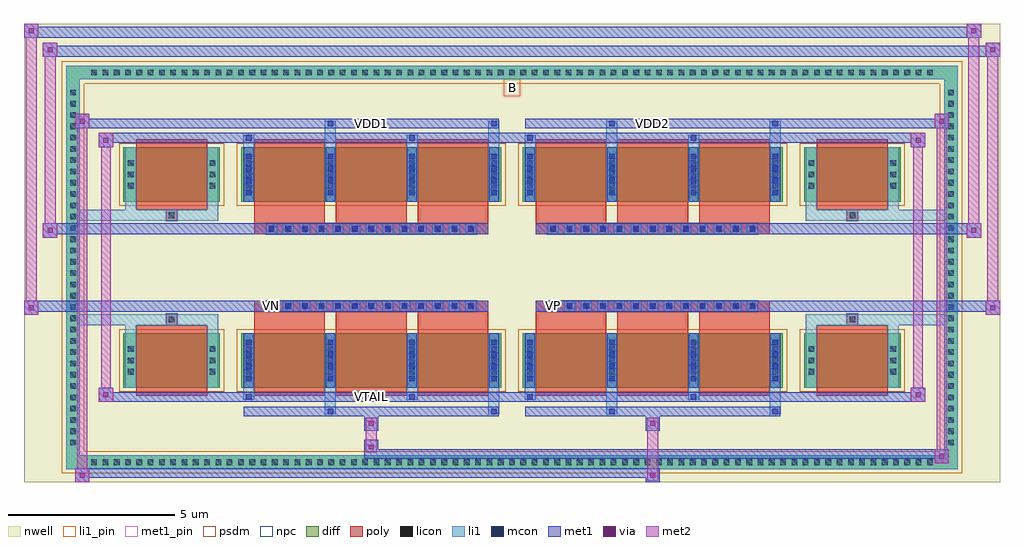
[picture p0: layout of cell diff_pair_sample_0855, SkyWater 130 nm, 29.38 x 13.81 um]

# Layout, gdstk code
import gdstk
lib = gdstk.Library(unit=1e-6, precision=5e-09)
def R(c, l, rs):  # rectangles x0, y0, x1, y1
    for r in rs: c.add(gdstk.rectangle(r[:2], r[2:], *l))
def A(c, l, x, y, w, h, nx, ny, dx, dy):  # array of equal rectangles
    R(c, l, [(x+i*dx, y+j*dy, x+i*dx+w, y+j*dy+h) for i in range(nx) for j in range(ny)])
def P(c, l, *ps):  # polygons
    for p in ps: c.add(gdstk.Polygon(p, *l))
nwell = (64, 20)
diff = (65, 20)
poly = (66, 20)
licon = (66, 44)
li1_pin = (67, 16)
li1 = (67, 20)
mcon = (67, 44)
met1_pin = (68, 16)
met1 = (68, 20)
via = (68, 44)
met2 = (69, 20)
psdm = (94, 20)
npc = (95, 20)

diff_pair_sample_0855 = lib.new_cell('diff_pair_sample_0855')
R(diff_pair_sample_0855, nwell, [(-14.69,-6.47,14.69,7.34), (-12.01,-4.66,-0.01,-0.8), (0.01,-4.66,12.01,-0.8), (-12.01,0.8,-0.01,4.66), (0.01,0.8,12.01,4.66)])
A(diff_pair_sample_0855, diff, -12.785, -6.07, 0.41, 0.41, 75, 2, 0.34, 11.73)
A(diff_pair_sample_0855, diff, -13.42, -5.475, 0.41, 0.41, 1, 32, 0, 0.34)
A(diff_pair_sample_0855, diff, 13.01, -5.475, 0.41, 0.41, 1, 32, 0, 0.34)
R(diff_pair_sample_0855, diff, [(-12.785,-6.07,12.785,-5.66), (-13.42,-5.475,-13.01,5.475), (13.01,-5.475,13.42,5.475), (-11.7,-3.615,-8.79,-1.985), (-8.15,-3.615,-0.32,-1.985), (0.32,-3.615,8.15,-1.985), (8.79,-3.615,11.7,-1.985), (-11.7,1.985,-8.79,3.615), (-8.15,1.985,-0.32,3.615), (0.32,1.985,8.15,3.615), (8.79,1.985,11.7,3.615), (-12.785,5.66,12.785,6.07)])
P(diff_pair_sample_0855, diff, [(13.42,6.07),(-13.42,6.07),(-13.42,-5.66),(-13.01,-5.66),(-13.01,5.66),(13.01,5.66),(13.01,-5.66),(-13.01,-5.66),(-13.42,-5.66),(-13.42,-6.07),(13.42,-6.07)])
A(diff_pair_sample_0855, poly, -7.76, -3.865, 2.13, 2.13, 3, 2, 2.46, 5.6)
A(diff_pair_sample_0855, poly, 0.71, -3.865, 2.13, 2.13, 3, 2, 2.46, 5.6)
A(diff_pair_sample_0855, poly, -7.76, -1.735, 2.13, 0.405, 3, 2, 2.46, 3.065)
A(diff_pair_sample_0855, poly, 0.71, -1.735, 2.13, 0.405, 3, 2, 2.46, 3.065)
A(diff_pair_sample_0855, poly, -7.4, -1.33, 0.33, 0.33, 13, 2, 0.5, 2.33)
A(diff_pair_sample_0855, poly, 1.07, -1.33, 0.33, 0.33, 13, 2, 0.5, 2.33)
R(diff_pair_sample_0855, poly, [(-11.31,-3.865,-9.18,-1.735), (9.18,-3.865,11.31,-1.735), (-10.41,-1.735,-10.08,-1.405), (-10.41,-1.735,-10.08,-1.405), (10.08,-1.735,10.41,-1.405), (10.08,-1.735,10.41,-1.405), (-7.76,-1.33,-0.71,-1), (0.71,-1.33,7.76,-1), (-7.76,1,-0.71,1.33), (0.71,1,7.76,1.33), (-10.41,1.405,-10.08,1.735), (-10.41,1.405,-10.08,1.735), (10.08,1.405,10.41,1.735), (10.08,1.405,10.41,1.735), (-11.31,1.735,-9.18,3.865), (9.18,1.735,11.31,3.865)])
A(diff_pair_sample_0855, licon, -12.665, -5.95, 0.17, 0.17, 75, 2, 0.34, 11.73)
A(diff_pair_sample_0855, licon, -13.3, -5.355, 0.17, 0.17, 1, 32, 0, 0.34)
A(diff_pair_sample_0855, licon, 13.13, -5.355, 0.17, 0.17, 1, 32, 0, 0.34)
A(diff_pair_sample_0855, licon, -11.56, -3.225, 0.17, 0.17, 1, 3, 0, 0.34)
A(diff_pair_sample_0855, licon, -9.1, -3.225, 0.17, 0.17, 1, 3, 0, 0.34)
A(diff_pair_sample_0855, licon, -8.01, -3.225, 0.17, 0.17, 4, 3, 2.46, 0.34)
A(diff_pair_sample_0855, licon, 0.46, -3.225, 0.17, 0.17, 4, 3, 2.46, 0.34)
A(diff_pair_sample_0855, licon, 8.93, -3.225, 0.17, 0.17, 1, 3, 0, 0.34)
A(diff_pair_sample_0855, licon, 11.39, -3.225, 0.17, 0.17, 1, 3, 0, 0.34)
A(diff_pair_sample_0855, licon, -7.32, -1.25, 0.17, 0.17, 13, 2, 0.5, 2.33)
A(diff_pair_sample_0855, licon, 1.15, -1.25, 0.17, 0.17, 13, 2, 0.5, 2.33)
A(diff_pair_sample_0855, licon, -11.56, 2.375, 0.17, 0.17, 1, 3, 0, 0.34)
A(diff_pair_sample_0855, licon, -9.1, 2.375, 0.17, 0.17, 1, 3, 0, 0.34)
A(diff_pair_sample_0855, licon, -8.01, 2.375, 0.17, 0.17, 4, 3, 2.46, 0.34)
A(diff_pair_sample_0855, licon, 0.46, 2.375, 0.17, 0.17, 4, 3, 2.46, 0.34)
A(diff_pair_sample_0855, licon, 8.93, 2.375, 0.17, 0.17, 1, 3, 0, 0.34)
A(diff_pair_sample_0855, licon, 11.39, 2.375, 0.17, 0.17, 1, 3, 0, 0.34)
R(diff_pair_sample_0855, licon, [(-10.33,-1.655,-10.16,-1.485), (10.16,-1.655,10.33,-1.485), (-10.33,1.485,-10.16,1.655), (10.16,1.485,10.33,1.655)])
R(diff_pair_sample_0855, li1_pin, [(-0.25,5.16,0.25,5.66)])
A(diff_pair_sample_0855, li1, -12.745, -6.03, 0.33, 0.33, 75, 2, 0.34, 11.73)
A(diff_pair_sample_0855, li1, -13.38, -5.435, 0.33, 0.33, 1, 32, 0, 0.34)
A(diff_pair_sample_0855, li1, 13.05, -5.435, 0.33, 0.33, 1, 32, 0, 0.34)
A(diff_pair_sample_0855, li1, -8.09, -3.615, 0.33, 1.63, 4, 2, 2.46, 5.6)
A(diff_pair_sample_0855, li1, 0.38, -3.615, 0.33, 1.63, 4, 2, 2.46, 5.6)
A(diff_pair_sample_0855, li1, -8.01, -3.425, 0.17, 0.17, 4, 4, 2.46, 0.36)
A(diff_pair_sample_0855, li1, -8.01, -3.425, 0.17, 1.25, 4, 2, 2.46, 5.6)
A(diff_pair_sample_0855, li1, 0.46, -3.425, 0.17, 0.17, 4, 4, 2.46, 0.36)
A(diff_pair_sample_0855, li1, 0.46, -3.425, 0.17, 1.25, 4, 2, 2.46, 5.6)
A(diff_pair_sample_0855, li1, -11.64, -3.305, 0.33, 0.33, 1, 3, 0, 0.34)
A(diff_pair_sample_0855, li1, -9.18, -3.305, 0.33, 0.33, 1, 3, 0, 0.34)
A(diff_pair_sample_0855, li1, -8.09, -3.305, 0.33, 0.33, 4, 3, 2.46, 0.34)
A(diff_pair_sample_0855, li1, 0.38, -3.305, 0.33, 0.33, 4, 3, 2.46, 0.34)
A(diff_pair_sample_0855, li1, 8.85, -3.305, 0.33, 0.33, 1, 3, 0, 0.34)
A(diff_pair_sample_0855, li1, 11.31, -3.305, 0.33, 0.33, 1, 3, 0, 0.34)
A(diff_pair_sample_0855, li1, -7.4, -1.33, 0.33, 0.33, 13, 2, 0.5, 2.33)
A(diff_pair_sample_0855, li1, 1.07, -1.33, 0.33, 0.33, 13, 2, 0.5, 2.33)
A(diff_pair_sample_0855, li1, -8.01, 2.175, 0.17, 0.17, 4, 4, 2.46, 0.36)
A(diff_pair_sample_0855, li1, 0.46, 2.175, 0.17, 0.17, 4, 4, 2.46, 0.36)
A(diff_pair_sample_0855, li1, -11.64, 2.295, 0.33, 0.33, 1, 3, 0, 0.34)
A(diff_pair_sample_0855, li1, -9.18, 2.295, 0.33, 0.33, 1, 3, 0, 0.34)
A(diff_pair_sample_0855, li1, -8.09, 2.295, 0.33, 0.33, 4, 3, 2.46, 0.34)
A(diff_pair_sample_0855, li1, 0.38, 2.295, 0.33, 0.33, 4, 3, 2.46, 0.34)
A(diff_pair_sample_0855, li1, 8.85, 2.295, 0.33, 0.33, 1, 3, 0, 0.34)
A(diff_pair_sample_0855, li1, 11.31, 2.295, 0.33, 0.33, 1, 3, 0, 0.34)
R(diff_pair_sample_0855, li1, [(-13.42,-6.07,-13.01,-5.66), (-13.42,-6.07,-13.01,-5.66), (-13.01,-6.07,13.01,-5.66), (13.01,-6.07,13.42,-5.66), (13.01,-6.07,13.42,-5.66), (-13.42,-5.66,-13.01,5.66), (13.01,-5.66,13.42,5.66), (-5.63,-4.42,-5.3,-3.615), (-5.55,-4.42,-5.38,-4.25), (-0.71,-4.42,-0.38,-3.615), (-0.63,-4.42,-0.46,-4.25), (2.84,-4.42,3.17,-3.615), (2.92,-4.42,3.09,-4.25), (7.76,-4.42,8.09,-3.615), (7.84,-4.42,8.01,-4.25), (-8.09,-3.99,-7.76,-3.615), (-8.01,-3.99,-7.84,-3.82), (-3.17,-3.99,-2.84,-3.615), (-3.09,-3.99,-2.92,-3.82), (0.38,-3.99,0.71,-3.615), (0.46,-3.99,0.63,-3.82), (5.3,-3.99,5.63,-3.615), (5.38,-3.99,5.55,-3.82), (-11.64,-3.615,-11.31,-1.985), (-9.18,-3.615,-8.85,-1.985), (8.85,-3.615,9.18,-1.985), (11.31,-3.615,11.64,-1.985), (-11.64,-1.985,-11.31,-1.405), (-9.18,-1.985,-8.85,-1.405), (8.85,-1.985,9.18,-1.405), (11.31,-1.985,11.64,-1.405), (-13.42,-1.735,-10.41,-1.405), (-11.64,-1.735,-10.41,-1.405), (-10.41,-1.735,-10.08,-1.405), (-10.08,-1.735,-8.85,-1.405), (8.85,-1.735,10.08,-1.405), (10.08,-1.735,10.41,-1.405), (10.08,-1.735,13.42,-1.405), (10.41,-1.735,11.64,-1.405), (-13.42,1.405,-10.41,1.735), (-11.64,1.405,-10.41,1.735), (-11.64,1.405,-11.31,1.985), (-10.41,1.405,-10.08,1.735), (-10.08,1.405,-8.85,1.735), (-9.18,1.405,-8.85,1.985), (8.85,1.405,10.08,1.735), (8.85,1.405,9.18,1.985), (10.08,1.405,10.41,1.735), (10.08,1.405,13.42,1.735), (10.41,1.405,11.64,1.735), (11.31,1.405,11.64,1.985), (-11.64,1.985,-11.31,3.615), (-9.18,1.985,-8.85,3.615), (8.85,1.985,9.18,3.615), (11.31,1.985,11.64,3.615), (-8.09,3.615,-7.76,3.99), (-5.63,3.615,-5.3,4.42), (-3.17,3.615,-2.84,3.99), (-0.71,3.615,-0.38,4.42), (0.38,3.615,0.71,3.99), (2.84,3.615,3.17,4.42), (5.3,3.615,5.63,3.99), (7.76,3.615,8.09,4.42), (-8.01,3.82,-7.84,3.99), (-3.09,3.82,-2.92,3.99), (0.46,3.82,0.63,3.99), (5.38,3.82,5.55,3.99), (-5.55,4.25,-5.38,4.42), (-0.63,4.25,-0.46,4.42), (2.92,4.25,3.09,4.42), (7.84,4.25,8.01,4.42), (-13.42,5.66,-13.01,6.07), (-13.42,5.66,-13.01,6.07), (-13.01,5.66,13.01,6.07), (13.01,5.66,13.42,6.07), (13.01,5.66,13.42,6.07)])
A(diff_pair_sample_0855, mcon, -8.01, -3.425, 0.17, 0.17, 4, 4, 2.46, 0.36)
A(diff_pair_sample_0855, mcon, 0.46, -3.425, 0.17, 0.17, 4, 4, 2.46, 0.36)
A(diff_pair_sample_0855, mcon, -7.32, -1.25, 0.17, 0.17, 13, 2, 0.5, 2.33)
A(diff_pair_sample_0855, mcon, 1.15, -1.25, 0.17, 0.17, 13, 2, 0.5, 2.33)
A(diff_pair_sample_0855, mcon, -8.01, 2.175, 0.17, 0.17, 4, 4, 2.46, 0.36)
A(diff_pair_sample_0855, mcon, 0.46, 2.175, 0.17, 0.17, 4, 4, 2.46, 0.36)
R(diff_pair_sample_0855, mcon, [(-5.55,-4.42,-5.38,-4.25), (-0.63,-4.42,-0.46,-4.25), (2.92,-4.42,3.09,-4.25), (7.84,-4.42,8.01,-4.25), (-8.01,-3.99,-7.84,-3.82), (-3.09,-3.99,-2.92,-3.82), (0.46,-3.99,0.63,-3.82), (5.38,-3.99,5.55,-3.82), (-8.01,3.82,-7.84,3.99), (-3.09,3.82,-2.92,3.99), (0.46,3.82,0.63,3.99), (5.38,3.82,5.55,3.99), (-5.55,4.25,-5.38,4.42), (-0.63,4.25,-0.46,4.42), (2.92,4.25,3.09,4.42), (7.84,4.25,8.01,4.42)])
R(diff_pair_sample_0855, met1_pin, [(-4.37,-4.03,-4.1,-3.76), (-7.37,-1.29,-7.1,-1.02), (1.1,-1.29,1.37,-1.02), (-4.37,4.21,-4.1,4.48), (4.1,4.21,4.37,4.48)])
A(diff_pair_sample_0855, met1, -8.07, -3.615, 0.29, 1.63, 4, 2, 2.46, 5.6)
A(diff_pair_sample_0855, met1, 0.4, -3.615, 0.29, 1.63, 4, 2, 2.46, 5.6)
A(diff_pair_sample_0855, met1, -8.07, -3.485, 0.29, 0.29, 4, 4, 2.46, 0.36)
A(diff_pair_sample_0855, met1, 0.4, -3.485, 0.29, 0.29, 4, 4, 2.46, 0.36)
A(diff_pair_sample_0855, met1, -7.38, -1.31, 0.29, 0.29, 13, 2, 0.5, 2.33)
A(diff_pair_sample_0855, met1, 1.09, -1.31, 0.29, 0.29, 13, 2, 0.5, 2.33)
A(diff_pair_sample_0855, met1, -8.07, 2.115, 0.29, 0.29, 4, 4, 2.46, 0.36)
A(diff_pair_sample_0855, met1, 0.4, 2.115, 0.29, 0.29, 4, 4, 2.46, 0.36)
R(diff_pair_sample_0855, met1, [(-13.15,-6.47,-12.72,-6.04), (4.02,-6.47,4.45,-6.04), (-13.15,-6.33,4.45,-6.04), (12.72,-5.9,13.15,-5.47), (-4.45,-5.76,13.15,-5.47), (-4.45,-5.62,-4.02,-5.19), (-4.45,-4.91,-4.02,-4.48), (4.02,-4.91,4.45,-4.48), (-8.07,-4.48,-0.4,-4.19), (-5.61,-4.48,-5.32,-4.19), (-0.69,-4.48,-0.4,-4.19), (0.4,-4.48,8.07,-4.19), (2.86,-4.48,3.15,-4.19), (7.78,-4.48,8.07,-4.19), (-12.44,-4.05,-12.01,-3.62), (-12.44,-4.05,-8.07,-3.76), (-8.07,-4.05,-7.78,-3.76), (-8.07,-4.05,-0.4,-3.76), (-3.15,-4.05,-2.86,-3.76), (-0.4,-4.05,0.4,-3.76), (0.4,-4.05,0.69,-3.76), (0.4,-4.05,8.07,-3.76), (5.32,-4.05,5.61,-3.76), (8.07,-4.05,12.44,-3.76), (12.01,-4.05,12.44,-3.62), (-14.69,-1.43,-14.26,-1), (14.26,-1.43,14.69,-1), (-14.69,-1.33,-0.71,-1), (-7.76,-1.33,-0.71,-1), (0.71,-1.33,7.76,-1), (0.71,-1.33,14.69,-1), (-14.12,0.9,-13.69,1.33), (13.69,0.9,14.12,1.33), (-14.12,1,-7.76,1.33), (-7.76,1,-0.71,1.33), (0.71,1,7.76,1.33), (7.76,1,14.12,1.33), (-12.44,3.62,-12.01,4.05), (12.01,3.62,12.44,4.05), (-12.44,3.76,-8.07,4.05), (-8.07,3.76,-7.78,4.05), (-8.07,3.76,-0.4,4.05), (-3.15,3.76,-2.86,4.05), (-0.4,3.76,0.4,4.05), (0.4,3.76,0.69,4.05), (0.4,3.76,8.07,4.05), (5.32,3.76,5.61,4.05), (8.07,3.76,12.44,4.05), (-13.15,4.19,-12.72,4.62), (-13.15,4.19,-8.07,4.48), (-8.07,4.19,-0.4,4.48), (-5.61,4.19,-5.32,4.48), (-0.69,4.19,-0.4,4.48), (0.4,4.19,8.07,4.48), (2.86,4.19,3.15,4.48), (7.78,4.19,8.07,4.48), (8.07,4.19,13.15,4.48), (12.72,4.19,13.15,4.62), (-14.12,6.34,-13.69,6.77), (-14.12,6.34,-12.01,6.67), (-12.01,6.34,12.01,6.67), (12.01,6.34,14.69,6.67), (14.26,6.34,14.69,6.77), (-14.69,6.91,-14.26,7.34), (-14.69,6.91,-12.01,7.24), (-12.01,6.91,12.01,7.24), (12.01,6.91,14.12,7.24), (13.69,6.91,14.12,7.34)])
R(diff_pair_sample_0855, via, [(-13.01,-6.33,-12.86,-6.18), (4.16,-6.33,4.31,-6.18), (12.86,-5.76,13.01,-5.61), (-4.31,-5.48,-4.16,-5.33), (-4.31,-4.77,-4.16,-4.62), (4.16,-4.77,4.31,-4.62), (-12.3,-3.91,-12.15,-3.76), (12.15,-3.91,12.3,-3.76), (-14.55,-1.29,-14.4,-1.14), (14.4,-1.29,14.55,-1.14), (-13.98,1.04,-13.83,1.19), (13.83,1.04,13.98,1.19), (-12.3,3.76,-12.15,3.91), (12.15,3.76,12.3,3.91), (-13.01,4.33,-12.86,4.48), (12.86,4.33,13.01,4.48), (-13.98,6.48,-13.83,6.63), (14.4,6.48,14.55,6.63), (-14.55,7.05,-14.4,7.2), (13.83,7.05,13.98,7.2)])
R(diff_pair_sample_0855, met2, [(-13.15,-6.47,-12.72,-6.04), (-13.08,-6.47,-12.79,4.62), (-12.79,-6.47,-12.72,-6.04), (-13.1,-6.42,-12.77,-6.09), (4.07,-6.42,4.4,-6.09), (4.07,-6.09,4.4,-4.86), (12.72,-5.9,13.15,-5.47), (12.79,-5.9,13.08,4.62), (13.08,-5.9,13.15,-5.47), (12.77,-5.85,13.1,-5.52), (-4.4,-5.57,-4.07,-5.24), (-4.4,-5.24,-4.07,-4.86), (-4.4,-4.86,-4.07,-4.53), (4.07,-4.86,4.4,-4.53), (-12.44,-4.05,-12.01,-3.62), (-12.37,-4.05,-12.08,4.05), (-12.08,-4.05,-12.01,-3.62), (12.01,-4.05,12.44,-3.62), (12.08,-4.05,12.37,4.05), (12.37,-4.05,12.44,-3.62), (-12.39,-4,-12.06,-3.67), (12.06,-4,12.39,-3.67), (-14.69,-1.43,-14.26,-1), (-14.64,-1.43,-14.31,7.34), (-14.31,-1.43,-14.26,-1), (14.26,-1.43,14.69,-1), (14.31,-1.43,14.64,6.77), (14.64,-1.43,14.69,-1), (-14.64,-1.38,-14.31,-1.05), (14.31,-1.38,14.64,-1.05), (-14.12,0.9,-13.69,1.33), (-14.07,0.9,-13.74,6.77), (-13.74,0.9,-13.69,1.33), (13.69,0.9,14.12,1.33), (13.74,0.9,14.07,7.34), (14.07,0.9,14.12,1.33), (-14.07,0.95,-13.74,1.28), (13.74,0.95,14.07,1.28), (-12.44,3.62,-12.01,4.05), (-12.08,3.62,-12.01,4.05), (12.01,3.62,12.44,4.05), (12.37,3.62,12.44,4.05), (-12.39,3.67,-12.06,4), (12.06,3.67,12.39,4), (-13.15,4.19,-12.72,4.62), (-12.79,4.19,-12.72,4.62), (12.72,4.19,13.15,4.62), (13.08,4.19,13.15,4.62), (-13.1,4.24,-12.77,4.57), (12.77,4.24,13.1,4.57), (-14.12,6.34,-13.69,6.77), (-13.74,6.34,-13.69,6.77), (14.26,6.34,14.69,6.77), (14.64,6.34,14.69,6.77), (-14.07,6.39,-13.74,6.72), (14.31,6.39,14.64,6.72), (-14.69,6.91,-14.26,7.34), (-14.31,6.91,-14.26,7.34), (13.69,6.91,14.12,7.34), (14.07,6.91,14.12,7.34), (-14.64,6.96,-14.31,7.29), (13.74,6.96,14.07,7.29)])
R(diff_pair_sample_0855, psdm, [(-11.83,-3.745,-8.66,-1.855), (-8.28,-3.745,-0.19,-1.855), (0.19,-3.745,8.28,-1.855), (8.66,-3.745,11.83,-1.855), (-11.83,1.855,-8.66,3.745), (-8.28,1.855,-0.19,3.745), (0.19,1.855,8.28,3.745), (8.66,1.855,11.83,3.745)])
P(diff_pair_sample_0855, psdm, [(13.55,6.2),(-13.55,6.2),(-13.55,-5.53),(-12.88,-5.53),(-12.88,5.53),(12.88,5.53),(12.88,-5.53),(-12.88,-5.53),(-13.55,-5.53),(-13.55,-6.2),(13.55,-6.2)])
A(diff_pair_sample_0855, npc, -7.42, -1.35, 0.37, 0.37, 13, 2, 0.5, 2.33)
A(diff_pair_sample_0855, npc, 1.05, -1.35, 0.37, 0.37, 13, 2, 0.5, 2.33)
R(diff_pair_sample_0855, npc, [(-10.43,-1.755,-10.06,-1.385), (10.06,-1.755,10.43,-1.385), (-7.42,-1.35,-6.55,-0.98), (-7.42,-1.35,-6.55,-0.98), (-6.92,-1.35,-6.05,-0.98), (-6.92,-1.35,-6.05,-0.98), (-6.42,-1.35,-5.55,-0.98), (-6.42,-1.35,-5.55,-0.98), (-5.92,-1.35,-5.05,-0.98), (-5.92,-1.35,-5.05,-0.98), (-5.42,-1.35,-4.55,-0.98), (-5.42,-1.35,-4.55,-0.98), (-4.92,-1.35,-4.05,-0.98), (-4.92,-1.35,-4.05,-0.98), (-4.42,-1.35,-3.55,-0.98), (-4.42,-1.35,-3.55,-0.98), (-3.92,-1.35,-3.05,-0.98), (-3.92,-1.35,-3.05,-0.98), (-3.42,-1.35,-2.55,-0.98), (-3.42,-1.35,-2.55,-0.98), (-2.92,-1.35,-2.05,-0.98), (-2.92,-1.35,-2.05,-0.98), (-2.42,-1.35,-1.55,-0.98), (-2.42,-1.35,-1.55,-0.98), (-1.92,-1.35,-1.05,-0.98), (-1.92,-1.35,-1.05,-0.98), (1.05,-1.35,1.92,-0.98), (1.05,-1.35,1.92,-0.98), (1.55,-1.35,2.42,-0.98), (1.55,-1.35,2.42,-0.98), (2.05,-1.35,2.92,-0.98), (2.05,-1.35,2.92,-0.98), (2.55,-1.35,3.42,-0.98), (2.55,-1.35,3.42,-0.98), (3.05,-1.35,3.92,-0.98), (3.05,-1.35,3.92,-0.98), (3.55,-1.35,4.42,-0.98), (3.55,-1.35,4.42,-0.98), (4.05,-1.35,4.92,-0.98), (4.05,-1.35,4.92,-0.98), (4.55,-1.35,5.42,-0.98), (4.55,-1.35,5.42,-0.98), (5.05,-1.35,5.92,-0.98), (5.05,-1.35,5.92,-0.98), (5.55,-1.35,6.42,-0.98), (5.55,-1.35,6.42,-0.98), (6.05,-1.35,6.92,-0.98), (6.05,-1.35,6.92,-0.98), (6.55,-1.35,7.42,-0.98), (6.55,-1.35,7.42,-0.98), (-7.42,0.98,-6.55,1.35), (-7.42,0.98,-6.55,1.35), (-6.92,0.98,-6.05,1.35), (-6.92,0.98,-6.05,1.35), (-6.42,0.98,-5.55,1.35), (-6.42,0.98,-5.55,1.35), (-5.92,0.98,-5.05,1.35), (-5.92,0.98,-5.05,1.35), (-5.42,0.98,-4.55,1.35), (-5.42,0.98,-4.55,1.35), (-4.92,0.98,-4.05,1.35), (-4.92,0.98,-4.05,1.35), (-4.42,0.98,-3.55,1.35), (-4.42,0.98,-3.55,1.35), (-3.92,0.98,-3.05,1.35), (-3.92,0.98,-3.05,1.35), (-3.42,0.98,-2.55,1.35), (-3.42,0.98,-2.55,1.35), (-2.92,0.98,-2.05,1.35), (-2.92,0.98,-2.05,1.35), (-2.42,0.98,-1.55,1.35), (-2.42,0.98,-1.55,1.35), (-1.92,0.98,-1.05,1.35), (-1.92,0.98,-1.05,1.35), (1.05,0.98,1.92,1.35), (1.05,0.98,1.92,1.35), (1.55,0.98,2.42,1.35), (1.55,0.98,2.42,1.35), (2.05,0.98,2.92,1.35), (2.05,0.98,2.92,1.35), (2.55,0.98,3.42,1.35), (2.55,0.98,3.42,1.35), (3.05,0.98,3.92,1.35), (3.05,0.98,3.92,1.35), (3.55,0.98,4.42,1.35), (3.55,0.98,4.42,1.35), (4.05,0.98,4.92,1.35), (4.05,0.98,4.92,1.35), (4.55,0.98,5.42,1.35), (4.55,0.98,5.42,1.35), (5.05,0.98,5.92,1.35), (5.05,0.98,5.92,1.35), (5.55,0.98,6.42,1.35), (5.55,0.98,6.42,1.35), (6.05,0.98,6.92,1.35), (6.05,0.98,6.92,1.35), (6.55,0.98,7.42,1.35), (6.55,0.98,7.42,1.35), (-10.43,1.385,-10.06,1.755), (10.06,1.385,10.43,1.755)])
diff_pair_sample_0855.add(gdstk.Label('VTAIL', (-4.235,-3.895), layer=68, texttype=5))
diff_pair_sample_0855.add(gdstk.Label('VN', (-7.235,-1.155), layer=68, texttype=5))
diff_pair_sample_0855.add(gdstk.Label('VP', (1.235,-1.155), layer=68, texttype=5))
diff_pair_sample_0855.add(gdstk.Label('B', (0,5.41), layer=67, texttype=5))
diff_pair_sample_0855.add(gdstk.Label('VDD2', (4.235,4.345), layer=68, texttype=5))
diff_pair_sample_0855.add(gdstk.Label('VDD1', (-4.235,4.345), layer=68, texttype=5))

lib.write_gds('diff_pair_sample_0855.gds')
